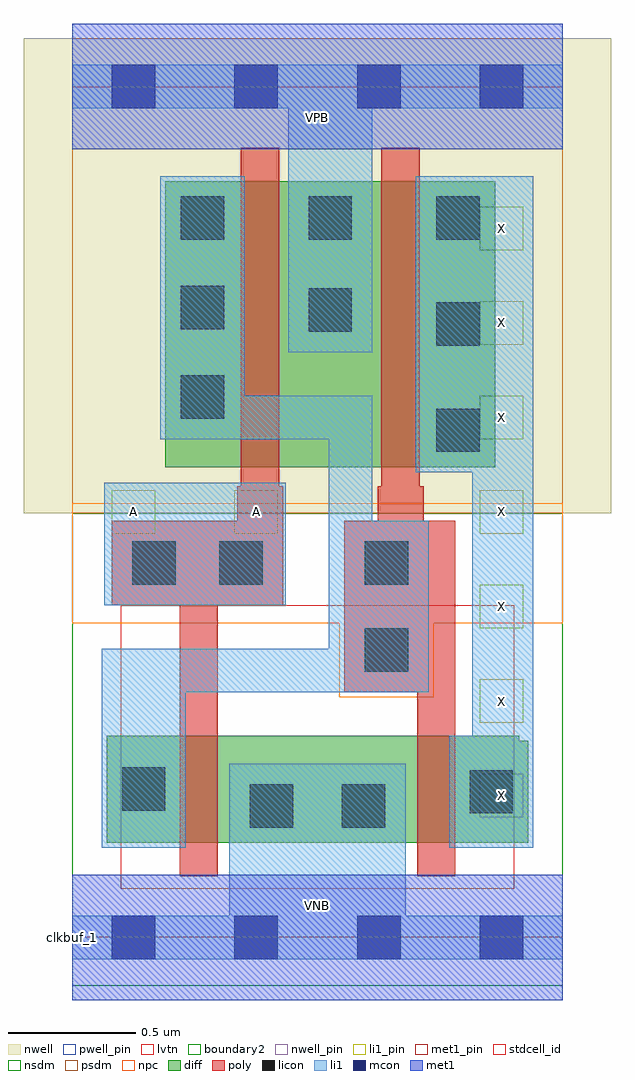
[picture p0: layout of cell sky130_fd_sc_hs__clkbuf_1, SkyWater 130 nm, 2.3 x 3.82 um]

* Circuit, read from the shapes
.subckt sky130_fd_sc_hs__clkbuf_1 A VGND VNB VPB VPWR X
XM1 VGND A n1 VNB sky130_fd_pr__nfet_01v8_lvt w=0.42 l=0.15
XM2 X n1 VGND VNB sky130_fd_pr__nfet_01v8_lvt w=0.42 l=0.15
XM3 VPWR A n1 VPB sky130_fd_pr__pfet_01v8 w=1.12 l=0.15
XM4 X n1 VPWR VPB sky130_fd_pr__pfet_01v8 w=1.12 l=0.15
.ends

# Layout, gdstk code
import gdstk
lib = gdstk.Library(unit=1e-6, precision=1e-09)
def R(c, l, rs):  # rectangles x0, y0, x1, y1
    for r in rs: c.add(gdstk.rectangle(r[:2], r[2:], *l))
def A(c, l, x, y, w, h, nx, ny, dx, dy):  # array of equal rectangles
    R(c, l, [(x+i*dx, y+j*dy, x+i*dx+w, y+j*dy+h) for i in range(nx) for j in range(ny)])
def P(c, l, *ps):  # polygons
    for p in ps: c.add(gdstk.Polygon(p, *l))
nwell_pin = (64, 16)
nwell = (64, 20)
diff = (65, 20)
poly = (66, 20)
licon = (66, 44)
li1_pin = (67, 16)
li1 = (67, 20)
mcon = (67, 44)
met1_pin = (68, 16)
met1 = (68, 20)
stdcell_id = (81, 4)
nsdm = (93, 44)
psdm = (94, 20)
npc = (95, 20)
pwell_pin = (122, 16)
lvtn = (125, 44)
boundary2 = (236, 0)

sky130_fd_sc_hs__clkbuf_ = lib.new_cell('sky130_fd_sc_hs__clkbuf_1')
R(sky130_fd_sc_hs__clkbuf_, nwell_pin, [(0,3.085,1.92,3.33)])
R(sky130_fd_sc_hs__clkbuf_, nwell, [(-0.19,1.66,2.11,3.52)])
R(sky130_fd_sc_hs__clkbuf_, diff, [(0.365,1.84,1.655,2.96)])
P(sky130_fd_sc_hs__clkbuf_, diff, [(1.785,0.77),(1.75,0.77),(1.75,0.79),(0.135,0.79),(0.135,0.37),(1.785,0.37)])
P(sky130_fd_sc_hs__clkbuf_, poly, [(1.5,1.63),(1.375,1.63),(1.375,1.765),(1.36,1.765),(1.36,3.09),(1.21,3.09),(1.21,1.765),(1.195,1.765),(1.195,1.63),(1.065,1.63),(1.065,0.96),(1.35,0.96),(1.35,0.24),(1.5,0.24)],
  [(0.825,1.765),(0.81,1.765),(0.81,3.09),(0.66,3.09),(0.66,1.765),(0.645,1.765),(0.645,1.63),(0.155,1.63),(0.155,1.3),(0.42,1.3),(0.42,0.24),(0.57,0.24),(0.57,1.3),(0.825,1.3)])
A(sky130_fd_sc_hs__clkbuf_, licon, 0.425, 2.73, 0.17, 0.17, 3, 1, 0.5, 0)
R(sky130_fd_sc_hs__clkbuf_, licon, [(0.695,0.43,0.865,0.6), (1.055,0.43,1.225,0.6), (1.555,0.485,1.725,0.655), (0.195,0.495,0.365,0.665), (1.145,1.04,1.315,1.21), (0.235,1.38,0.405,1.55), (0.575,1.38,0.745,1.55), (1.145,1.38,1.315,1.55), (1.425,1.9,1.595,2.07), (0.425,2.03,0.595,2.2), (1.425,2.315,1.595,2.485), (0.925,2.37,1.095,2.54), (0.425,2.38,0.595,2.55)])
A(sky130_fd_sc_hs__clkbuf_, li1_pin, 1.595, 0.47, 0.17, 0.17, 1, 7, 0, 0.37)
R(sky130_fd_sc_hs__clkbuf_, li1_pin, [(0.155,1.58,0.325,1.75), (0.635,1.58,0.805,1.75)])
R(sky130_fd_sc_hs__clkbuf_, li1, [(0.125,1.3,0.835,1.78)])
P(sky130_fd_sc_hs__clkbuf_, li1, [(0.845,2.29),(0.845,3.245),(0,3.245),(0,3.415),(1.92,3.415),(1.92,3.245),(1.175,3.245),(1.175,2.29)],
  [(0.615,0.085),(0.615,0.68),(1.305,0.68),(1.305,0.085),(1.92,0.085),(1.92,-0.085),(0,-0.085),(0,0.085)],
  [(0.115,1.13),(1.005,1.13),(1.005,1.95),(0.345,1.95),(0.345,2.98),(0.675,2.98),(0.675,2.12),(1.175,2.12),(1.175,1.63),(1.395,1.63),(1.395,0.96),(0.445,0.96),(0.445,0.35),(0.115,0.35)],
  [(1.565,0.79),(1.565,1.82),(1.345,1.82),(1.345,2.98),(1.805,2.98),(1.805,0.35),(1.475,0.35),(1.475,0.79)])
A(sky130_fd_sc_hs__clkbuf_, mcon, 0.155, -0.085, 0.17, 0.17, 4, 2, 0.48, 3.33)
R(sky130_fd_sc_hs__clkbuf_, met1_pin, [(0,0,1.92,0.245), (0,3.085,1.92,3.33)])
R(sky130_fd_sc_hs__clkbuf_, met1, [(0,-0.245,1.92,0.245), (0,3.085,1.92,3.575)])
R(sky130_fd_sc_hs__clkbuf_, stdcell_id, [(0,0,1.92,3.33)])
R(sky130_fd_sc_hs__clkbuf_, nsdm, [(0,-0.19,1.92,1.66)])
R(sky130_fd_sc_hs__clkbuf_, psdm, [(0,1.66,1.92,3.52)])
P(sky130_fd_sc_hs__clkbuf_, npc, [(1.92,1.7),(0,1.7),(0,1.23),(1.045,1.23),(1.045,0.94),(1.415,0.94),(1.415,1.23),(1.92,1.23)])
R(sky130_fd_sc_hs__clkbuf_, pwell_pin, [(0,0,1.92,0.245)])
R(sky130_fd_sc_hs__clkbuf_, lvtn, [(0.19,0.19,1.73,1.3)])
R(sky130_fd_sc_hs__clkbuf_, boundary2, [(0,0,1.92,3.33)])
sky130_fd_sc_hs__clkbuf_.add(gdstk.Label('clkbuf_1', (0,0), layer=83, texttype=44))
sky130_fd_sc_hs__clkbuf_.add(gdstk.Label('VNB', (0.96,0.123), layer=64, texttype=59))
sky130_fd_sc_hs__clkbuf_.add(gdstk.Label('VPB', (0.96,3.208), layer=64, texttype=5))
sky130_fd_sc_hs__clkbuf_.add(gdstk.Label('VPWR', (0.96,3.208), layer=68, texttype=5))
sky130_fd_sc_hs__clkbuf_.add(gdstk.Label('VGND', (0.96,0.123), layer=68, texttype=5))
sky130_fd_sc_hs__clkbuf_.add(gdstk.Label('A', (0.24,1.665), layer=67, texttype=5))
sky130_fd_sc_hs__clkbuf_.add(gdstk.Label('A', (0.72,1.665), layer=67, texttype=5))
sky130_fd_sc_hs__clkbuf_.add(gdstk.Label('X', (1.68,0.555), layer=67, texttype=5))
sky130_fd_sc_hs__clkbuf_.add(gdstk.Label('X', (1.68,0.925), layer=67, texttype=5))
sky130_fd_sc_hs__clkbuf_.add(gdstk.Label('X', (1.68,1.295), layer=67, texttype=5))
sky130_fd_sc_hs__clkbuf_.add(gdstk.Label('X', (1.68,1.665), layer=67, texttype=5))
sky130_fd_sc_hs__clkbuf_.add(gdstk.Label('X', (1.68,2.035), layer=67, texttype=5))
sky130_fd_sc_hs__clkbuf_.add(gdstk.Label('X', (1.68,2.405), layer=67, texttype=5))
sky130_fd_sc_hs__clkbuf_.add(gdstk.Label('X', (1.68,2.775), layer=67, texttype=5))

lib.write_gds('sky130_fd_sc_hs__clkbuf_1.gds')
